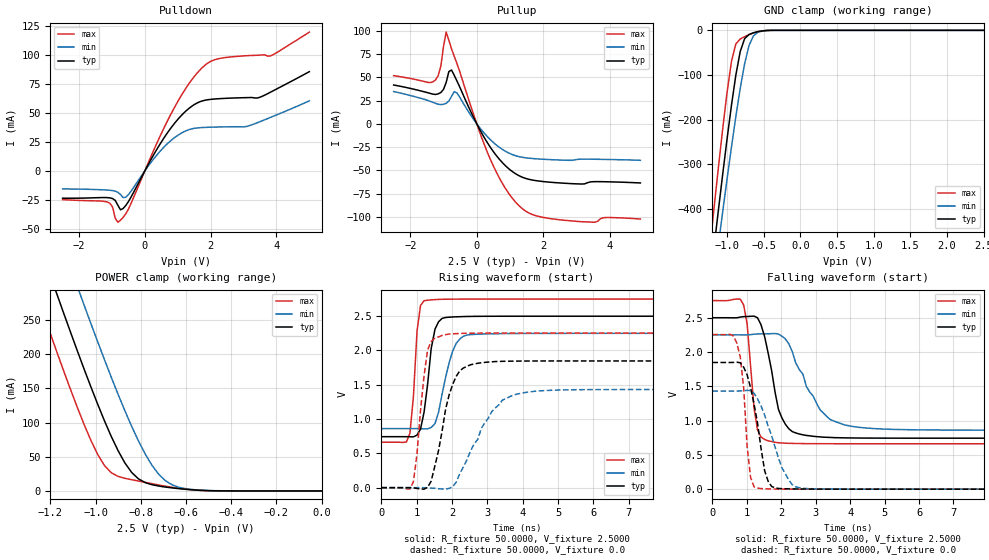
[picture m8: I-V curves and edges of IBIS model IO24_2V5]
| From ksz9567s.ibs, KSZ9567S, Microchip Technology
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|   Model IO24_2V5
[Model]  IO24_2V5
Model_type I/O
Polarity   Non-Inverting
Enable   Active-High
Vinl =   1.0000V
Vinh =   1.5000V
Vmeas =  1.2500V
Vref =   0.0V
C_comp   1.5000pF   1.4000pF   1.7000pF
[Temperature Range]   42.0000   0.1250k   -40.0000
[Voltage Range]   2.5000V   2.2500V   2.7500V
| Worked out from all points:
|   slope of the pulldown table from 0 to 0.375 V, typ, clamps not added: 19.6 ohm
|   slope of the pullup table from 0 to 0.375 V, typ, clamps not added: 16 ohm
|   GND clamp passes 1 mA (typ) near -0.50 V on its own axis
|   POWER clamp passes 1 mA (typ) near -0.54 V on its own axis
|   rising waveform, R_fixture 50.0000, V_fixture 2.5000: 20-80 % time 250ps typ, 373ps min, 161ps max; typ from 0.743 V to 2.5 V
|   rising waveform, R_fixture 50.0000, V_fixture 0.0: 20-80 % time 461ps typ, 887ps min, 256ps max; typ from 0 V to 1.85 V
|   falling waveform, R_fixture 50.0000, V_fixture 2.5000: 20-80 % time 424ps typ, 823ps min, 221ps max; typ from 2.5 V to 0.743 V
|   falling waveform, R_fixture 50.0000, V_fixture 0.0: 20-80 % time 376ps typ, 583ps min, 209ps max; typ from 1.85 V to 0 V
[Pulldown]
|Voltage   I(typ)   I(min)   I(max)
-2.5V     -23.61mA   -15.65mA   -24.85mA
-1.14V    -23.13mA   -16.61mA   -26.93mA
-980mV    -23.95mA   -17.08mA   -31.43mA
-820mV    -29.74mA   -18.51mA   -44.36mA
-580mV    -29.91mA   -22.89mA   -37.13mA
300mV     15.5mA     11.44mA    19.82mA
940mV     42.39mA    29.49mA    56.82mA
1.74V     60.37mA    37.41mA    89.04mA
2.22V     62.29mA    37.88mA    96.76mA
3.42V     62.95mA    41.6mA     99.89mA
3.82V     67.98mA    46.19mA    99.34mA
5V        85.71mA    60.5mA     119.9mA
[Pullup]
|Voltage   I(typ)   I(min)   I(max)
-2.5V     41.77mA    34.76mA    51.78mA
-1.24V    31.6mA     22.08mA    47.29mA
-1.08V    33.72mA    20.74mA    62.21mA
-920mV    44.59mA    22.08mA    98.7mA
-840mV    56.21mA    24.5mA     90.02mA
-760mV    57.89mA    29.51mA    80.75mA
-600mV    46.33mA    33.31mA    65.18mA
360mV     -22.61mA   -15.3mA    -34.12mA
760mV     -41.33mA   -27.3mA    -63.45mA
1.24V     -55.22mA   -35.05mA   -87.01mA
2.44V     -63.44mA   -38.85mA   -103mA
4.92V     -63.61mA   -39.25mA   -102.4mA
[GND_clamp]
|Voltage   I(typ)   I(min)   I(max)
-2.5V     -2.459A    -2.335A    -2.574A
-1.24V    -576.1mA   -637.3mA   -496.6mA
-1.18V    -490.6mA   -559.8mA   -402.7mA
-1.12V    -406.4mA   -483.2mA   -310.8mA
-1.06V    -323.9mA   -407.8mA   -222.1mA
-940mV    -168.5mA   -262.1mA   -70.11mA
-880mV    -100.5mA   -193.5mA   -30.68mA
-820mV    -47.33mA   -129.9mA   -19.44mA
-760mV    -18.71mA   -74.8mA    -14.12mA
-640mV    -5.456mA   -12.39mA   -5.874mA
-520mV    -1.3mA     -1.782mA   -1.009mA
2.5V      156.2pA    1.338uA    90.81pA
[POWER_clamp]
|Voltage   I(typ)   I(min)   I(max)
-2.5V     1.544A     1.608A     1.489A
-1.26V    371.8mA    464.4mA    287.1mA
-1.17V    287.1mA    381.6mA    202.3mA
-1.08V    204.5mA    298.8mA    121.8mA
-1.05V    177.8mA    271.4mA    96.8mA
-960mV    102.2mA    191.6mA    36.92mA
-870mV    40.88mA    117.2mA    18.42mA
-840mV    26.97mA    94.36mA    16.4mA
-780mV    12.16mA    53.87mA    12.51mA
-690mV    5.606mA    14.7mA     6.87mA
-540mV    945.8uA    1.239mA    771.6uA
0V        156.2pA    2.563nA    117pA
[Ramp]
| variable   typ   min   max
dV/dt_r  1.1085/0.4614n   0.8588/0.8660n   1.3525/0.2411n
dV/dt_f  1.0540/0.4290n   0.8335/0.8362n   1.2526/0.2266n
R_load = 50.0000
[Rising Waveform]
R_fixture= 50.0000
V_fixture= 2.5000
V_fixture_min= 2.2500
V_fixture_max= 2.7500
|time   V(typ)   V(min)   V(max)
0s        743.4mV    860.9mV    662.3mV
810ps     742.2mV    860.9mV    792.8mV
910ps     741mV      861mV      1.338V
1.01ns    766.7mV    861.1mV    2.281V
1.21ns    1.101V     857mV      2.726V
1.41ns    2.024V     877mV      2.739V
1.72ns    2.468V     1.365V     2.747V
2.02ns    2.489V     1.993V     2.748V
2.42ns    2.496V     2.225V     2.75V
10ns      2.5V       2.25V      2.75V
[Rising Waveform]
R_fixture= 50.0000
V_fixture= 0.0
V_fixture_min= 0.0
V_fixture_max= 0.0
|time   V(typ)   V(min)   V(max)
0s        215.8nV    610.4nV    -2.846uV
910ps     -2.774mV   -27.45uV   88.5mV
1.31ns    6.852mV    -2.027mV   2.008V
1.52ns    326.4mV    -10.1mV    2.184V
1.82ns    1.147V     -20.25mV   2.231V
2.02ns    1.508V     14.01mV    2.243V
2.53ns    1.793V     541.5mV    2.252V
3.13ns    1.835V     1.113V     2.254V
3.84ns    1.846V     1.365V     2.254V
10ns      1.847V     1.431V     2.254V
[Falling Waveform]
R_fixture= 50.0000
V_fixture= 2.5000
V_fixture_min= 2.2500
V_fixture_max= 2.7500
|time   V(typ)   V(min)   V(max)
0s        2.5V       2.25V      2.75V
910ps     2.516V     2.249V     2.684V
1.01ns    2.518V     2.249V     2.405V
1.21ns    2.523V     2.26V      1.185V
1.52ns    2.221V     2.265V     723.9mV
1.92ns    1.161V     2.262V     677mV
2.42ns    820.3mV    1.842V     666.2mV
3.13ns    762.3mV    1.155V     663mV
3.84ns    748.4mV    935.7mV    662.4mV
10ns      743.4mV    860.9mV    662.3mV
[Falling Waveform]
R_fixture= 50.0000
V_fixture= 0.0
V_fixture_min= 0.0
V_fixture_max= 0.0
|time   V(typ)   V(min)   V(max)
0s        1.847V     1.431V     2.254V
710ps     1.852V     1.431V     2.131V
910ps     1.778V     1.435V     1.475V
1.01ns    1.667V     1.441V     617.6mV
1.11ns    1.478V     1.437V     171.3mV
1.21ns    1.242V     1.399V     34.62mV
1.62ns    115.3mV    917.1mV    4.489mV
2.02ns    7.501mV    311.8mV    1.34mV
2.42ns    3.156mV    34.34mV    463.3uV
10ns      577.5nV    770.4nV    820.2nV
